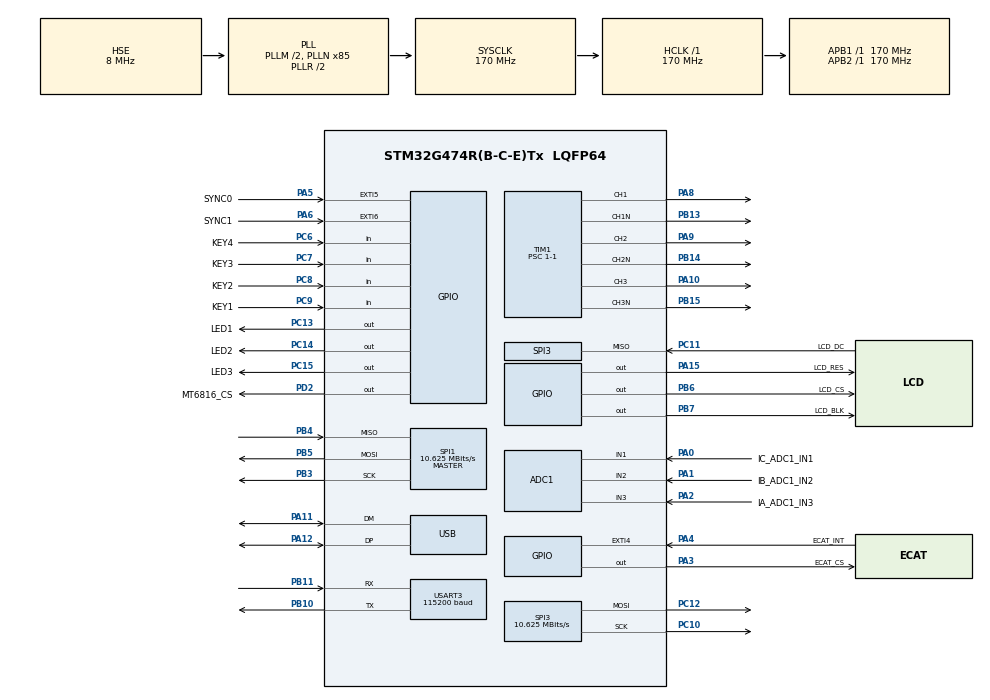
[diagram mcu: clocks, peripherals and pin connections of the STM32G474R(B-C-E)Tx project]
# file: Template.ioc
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ADC1.ClockPrescaler=ADC_CLOCK_ASYNC_DIV4
ADC1.EnableInjectedConversion=ENABLE
ADC1.EnableRegularConversion=DISABLE
ADC1.ExternalTrigInjecConv=ADC_EXTERNALTRIGINJEC_T1_CC4
ADC1.InjNumberOfConversion=3
ADC1.InjectedChannel-3\#ChannelInjectedConversion=ADC_CHANNEL_3
ADC1.InjectedChannel-5\#ChannelInjectedConversion=ADC_CHANNEL_2
ADC1.InjectedChannel-6\#ChannelInjectedConversion=ADC_CHANNEL_1
ADC1.InjectedOffsetNumber-3\#ChannelInjectedConversion=ADC_OFFSET_NONE
ADC1.InjectedOffsetNumber-5\#ChannelInjectedConversion=ADC_OFFSET_NONE
ADC1.InjectedOffsetNumber-6\#ChannelInjectedConversion=ADC_OFFSET_NONE
ADC1.InjectedRank-3\#ChannelInjectedConversion=1
ADC1.InjectedRank-5\#ChannelInjectedConversion=2
ADC1.InjectedRank-6\#ChannelInjectedConversion=3
ADC1.InjectedSamplingTime-3\#ChannelInjectedConversion=ADC_SAMPLETIME_2CYCLES_5
ADC1.InjectedSamplingTime-5\#ChannelInjectedConversion=ADC_SAMPLETIME_2CYCLES_5
ADC1.InjectedSamplingTime-6\#ChannelInjectedConversion=ADC_SAMPLETIME_2CYCLES_5
ADC1.injectedQueueMode=DISABLE
ADC1.master=1
Dma.Request0=USART3_TX
Dma.USART3_TX.0.Direction=DMA_MEMORY_TO_PERIPH
Dma.USART3_TX.0.EventEnable=DISABLE
Dma.USART3_TX.0.Instance=DMA1_Channel1
Dma.USART3_TX.0.MemDataAlignment=DMA_MDATAALIGN_BYTE
Dma.USART3_TX.0.MemInc=DMA_MINC_ENABLE
Dma.USART3_TX.0.Mode=DMA_NORMAL
Dma.USART3_TX.0.PeriphDataAlignment=DMA_PDATAALIGN_BYTE
Dma.USART3_TX.0.PeriphInc=DMA_PINC_DISABLE
Dma.USART3_TX.0.Polarity=HAL_DMAMUX_REQ_GEN_RISING
Dma.USART3_TX.0.Priority=DMA_PRIORITY_LOW
Dma.USART3_TX.0.RequestNumber=1
Dma.USART3_TX.0.SignalID=NONE
Dma.USART3_TX.0.SyncEnable=DISABLE
Dma.USART3_TX.0.SyncPolarity=HAL_DMAMUX_SYNC_NO_EVENT
Dma.USART3_TX.0.SyncRequestNumber=1
Dma.USART3_TX.0.SyncSignalID=NONE
FREERTOS.Tasks01=defaultTask,24,128,StartDefaultTask,Default,NULL,Dynamic,NULL,NULL
FREERTOS.configGENERATE_RUN_TIME_STATS=1
FREERTOS.configTOTAL_HEAP_SIZE=30720
FREERTOS.configUSE_STATS_FORMATTING_FUNCTIONS=1
Mcu.Family=STM32G4
Mcu.Name=STM32G474R(B-C-E)Tx
Mcu.Package=LQFP64
Mcu.UserConstants=PWM_PERIOD_CYCLES,(uint16_t)((TIMER1_CLK_MHz * (uint32_t) 1000000u / ((uint32_t) (PWM_FREQUENCY))) & 0xFFFE);PWM_FREQUENCY,20000;TIMER1_CLK_MHz,170;HALF_PWM_PERIOD_CYCLES,(uint16_t)(PWM_PERIOD_CYCLES / 2U);TIM7_PERIOD_CYCLES,(uint16_t)((TIMER7_CLK_MHz * (uint32_t) 1000000u / ((uint32_t) (TIM7_FREQUENCY))) & 0xFFFE);TIM7_FREQUENCY,20000;TIMER7_CLK_MHz,170
NVIC.ADC1_2_IRQn=true\:5\:0\:true\:false\:true\:true\:true\:true\:true
NVIC.DMA1_Channel1_IRQn=true\:6\:0\:true\:false\:true\:true\:false\:true\:true
NVIC.EXTI4_IRQn=true\:5\:0\:false\:false\:true\:true\:true\:true\:true
NVIC.EXTI9_5_IRQn=true\:5\:0\:false\:false\:true\:true\:true\:true\:true
NVIC.PriorityGroup=NVIC_PRIORITYGROUP_4
NVIC.TIM1_TRG_COM_TIM17_IRQn=true\:6\:0\:true\:false\:true\:true\:true\:true\:true
NVIC.TIM2_IRQn=true\:5\:0\:false\:false\:true\:true\:true\:true\:true
NVIC.TIM6_DAC_IRQn=true\:15\:0\:false\:false\:true\:false\:false\:true\:true
NVIC.TIM7_DAC_IRQn=true\:5\:0\:true\:false\:true\:true\:true\:true\:true
NVIC.TimeBase=TIM6_DAC_IRQn
NVIC.TimeBaseIP=TIM6
NVIC.USART3_IRQn=true\:6\:0\:true\:false\:true\:true\:true\:true\:true
NVIC.USB_LP_IRQn=true\:6\:0\:true\:false\:true\:true\:false\:true\:true
PA0.GPIO_Label=IC_ADC1_IN1
PA0.Mode=IN1-Single-Ended
PA0.Signal=ADC1_IN1
PA1.GPIO_Label=IB_ADC1_IN2
PA1.Mode=IN2-Single-Ended
PA1.Signal=ADC1_IN2
PA10.GPIO_PuPd=GPIO_PULLDOWN
PA10.GPIO_Speed=GPIO_SPEED_FREQ_HIGH
PA10.Signal=S_TIM1_CH3
PA11.Mode=Device
PA11.Signal=USB_DM
PA12.Mode=Device
PA12.Signal=USB_DP
PA13.Mode=Serial_Wire
PA13.Signal=SYS_JTMS-SWDIO
PA14.Mode=Serial_Wire
PA14.Signal=SYS_JTCK-SWCLK
PA15.GPIO_Label=LCD_RES
PA15.Signal=GPIO_Output
PA2.GPIO_Label=IA_ADC1_IN3
PA2.Mode=IN3-Single-Ended
PA2.Signal=ADC1_IN3
PA3.GPIO_Label=ECAT_CS
PA3.PinState=GPIO_PIN_SET
PA3.Signal=GPIO_Output
PA4.GPIO_Label=ECAT_INT
PA4.GPIO_ModeDefaultEXTI=GPIO_MODE_IT_FALLING
PA4.GPIO_PuPd=GPIO_PULLUP
PA4.Signal=GPXTI4
PA5.GPIO_Label=SYNC0
PA5.GPIO_ModeDefaultEXTI=GPIO_MODE_IT_FALLING
PA5.GPIO_PuPd=GPIO_PULLUP
PA5.Signal=GPXTI5
PA6.GPIO_Label=SYNC1
PA6.GPIO_ModeDefaultEXTI=GPIO_MODE_IT_FALLING
PA6.GPIO_PuPd=GPIO_PULLUP
PA6.Signal=GPXTI6
PA8.GPIO_PuPd=GPIO_PULLDOWN
PA8.GPIO_Speed=GPIO_SPEED_FREQ_HIGH
PA8.Signal=S_TIM1_CH1
PA9.GPIO_PuPd=GPIO_PULLDOWN
PA9.GPIO_Speed=GPIO_SPEED_FREQ_HIGH
PA9.Signal=S_TIM1_CH2
PB10.Mode=Asynchronous
PB10.Signal=USART3_TX
PB11.Mode=Asynchronous
PB11.Signal=USART3_RX
PB13.GPIO_PuPd=GPIO_PULLDOWN
PB13.GPIO_Speed=GPIO_SPEED_FREQ_HIGH
PB13.Mode=PWM Generation1 CH1 CH1N
PB13.Signal=TIM1_CH1N
PB14.GPIO_PuPd=GPIO_PULLDOWN
PB14.GPIO_Speed=GPIO_SPEED_FREQ_HIGH
PB14.Mode=PWM Generation2 CH2 CH2N
PB14.Signal=TIM1_CH2N
PB15.GPIO_PuPd=GPIO_PULLDOWN
PB15.GPIO_Speed=GPIO_SPEED_FREQ_HIGH
PB15.Mode=PWM Generation3 CH3 CH3N
PB15.Signal=TIM1_CH3N
PB3.Mode=Full_Duplex_Master
PB3.Signal=SPI1_SCK
PB4.Mode=Full_Duplex_Master
PB4.Signal=SPI1_MISO
PB5.Mode=Full_Duplex_Master
PB5.Signal=SPI1_MOSI
PB6.GPIO_Label=LCD_CS
PB6.Signal=GPIO_Output
PB7.GPIO_Label=LCD_BLK
PB7.Signal=GPIO_Output
PC10.GPIO_Speed=GPIO_SPEED_FREQ_VERY_HIGH
PC10.Mode=Full_Duplex_Master
PC10.Signal=SPI3_SCK
PC11.GPIO_Label=LCD_DC
PC11.Mode=Full_Duplex_Master
PC11.Signal=SPI3_MISO
PC12.GPIO_Speed=GPIO_SPEED_FREQ_VERY_HIGH
PC12.Mode=Full_Duplex_Master
PC12.Signal=SPI3_MOSI
PC13.GPIO_Label=LED1
PC13.Signal=GPIO_Output
PC14-OSC32_IN.GPIO_Label=LED2
PC14-OSC32_IN.Signal=GPIO_Output
PC15-OSC32_OUT.GPIO_Label=LED3
PC15-OSC32_OUT.Signal=GPIO_Output
PC6.GPIO_Label=KEY4
PC6.GPIO_PuPd=GPIO_PULLUP
PC6.Signal=GPIO_Input
PC7.GPIO_Label=KEY3
PC7.GPIO_PuPd=GPIO_PULLUP
PC7.Signal=GPIO_Input
PC8.GPIO_Label=KEY2
PC8.GPIO_PuPd=GPIO_PULLUP
PC8.Signal=GPIO_Input
PC9.GPIO_Label=KEY1
PC9.GPIO_PuPd=GPIO_PULLUP
PC9.Signal=GPIO_Input
PD2.GPIO_Label=MT6816_CS
PD2.PinState=GPIO_PIN_SET
PD2.Signal=GPIO_Output
PF0-OSC_IN.Mode=HSE-External-Oscillator
PF0-OSC_IN.Signal=RCC_OSC_IN
PF1-OSC_OUT.Mode=HSE-External-Oscillator
PF1-OSC_OUT.Signal=RCC_OSC_OUT
ProjectManager.HeapSize=0x200
ProjectManager.StackSize=0x400
ProjectManager.TargetToolchain=MDK-ARM V5.32
RCC.ADC12Freq_Value=170000000
RCC.ADC345Freq_Value=170000000
RCC.AHBFreq_Value=170000000
RCC.APB1Freq_Value=170000000
RCC.APB1TimFreq_Value=170000000
RCC.APB2Freq_Value=170000000
RCC.APB2TimFreq_Value=170000000
RCC.CK48CLockSelection=RCC_USBCLKSOURCE_HSI48
RCC.CortexFreq_Value=170000000
RCC.EXTERNAL_CLOCK_VALUE=12288000
RCC.HCLKFreq_Value=170000000
RCC.HSE_VALUE=8000000
RCC.HSI48_VALUE=48000000
RCC.HSI_VALUE=16000000
RCC.LSE_VALUE=32768
RCC.PLLM=RCC_PLLM_DIV2
RCC.PLLN=85
RCC.PLLSourceVirtual=RCC_PLLSOURCE_HSE
RCC.SYSCLKFreq_VALUE=170000000
RCC.SYSCLKSource=RCC_SYSCLKSOURCE_PLLCLK
RCC.USBFreq_Value=48000000
RCC.VCOOutputFreq_Value=340000000
SH.S_TIM1_CH1.0=TIM1_CH1,PWM Generation1 CH1 CH1N
SH.S_TIM1_CH2.0=TIM1_CH2,PWM Generation2 CH2 CH2N
SH.S_TIM1_CH3.0=TIM1_CH3,PWM Generation3 CH3 CH3N
SPI1.BaudRatePrescaler=SPI_BAUDRATEPRESCALER_16
SPI1.CLKPhase=SPI_PHASE_2EDGE
SPI1.CLKPolarity=SPI_POLARITY_HIGH
SPI1.CalculateBaudRate=10.625 MBits/s
SPI1.DataSize=SPI_DATASIZE_16BIT
SPI1.Direction=SPI_DIRECTION_2LINES
SPI1.Mode=SPI_MODE_MASTER
SPI1.VirtualType=VM_MASTER
SPI3.BaudRatePrescaler=SPI_BAUDRATEPRESCALER_16
SPI3.CLKPhase=SPI_PHASE_2EDGE
SPI3.CLKPolarity=SPI_POLARITY_HIGH
SPI3.CalculateBaudRate=10.625 MBits/s
SPI3.DataSize=SPI_DATASIZE_8BIT
SPI3.Direction=SPI_DIRECTION_2LINES
SPI3.Mode=SPI_MODE_MASTER
SPI3.VirtualType=VM_MASTER
STMicroelectronics.X-CUBE-ALGOBUILD.1.4.0.LibraryCcDSPOoLibraryJjDSPOoLibrary=true
TIM1.AutoReloadPreload=TIM_AUTORELOAD_PRELOAD_DISABLE
TIM1.Channel-PWM\ Generation1\ CH1\ CH1N=TIM_CHANNEL_1
TIM1.Channel-PWM\ Generation2\ CH2\ CH2N=TIM_CHANNEL_2
TIM1.Channel-PWM\ Generation3\ CH3\ CH3N=TIM_CHANNEL_3
TIM1.Channel-PWM\ Generation4\ No\ Output=TIM_CHANNEL_4
TIM1.ClockDivision=TIM_CLOCKDIVISION_DIV2
TIM1.CounterMode=TIM_COUNTERMODE_CENTERALIGNED1
TIM1.DeadTime=0
TIM1.OCMode_PWM-PWM\ Generation1\ CH1\ CH1N=TIM_OCMODE_PWM1
TIM1.OCMode_PWM-PWM\ Generation2\ CH2\ CH2N=TIM_OCMODE_PWM1
TIM1.OCMode_PWM-PWM\ Generation3\ CH3\ CH3N=TIM_OCMODE_PWM1
TIM1.OCMode_PWM-PWM\ Generation4\ No\ Output=TIM_OCMODE_PWM2
TIM1.PeriodNoDither=HALF_PWM_PERIOD_CYCLES
TIM1.Prescaler=1-1
TIM1.PulseNoDither_4=HALF_PWM_PERIOD_CYCLES-2
TIM1.RepetitionCounter=1
TIM1.TIM_MasterOutputTrigger=TIM_TRGO_OC4REF
TIM2.PeriodNoDither=1000-1
TIM2.Prescaler=72-1
TIM7.PeriodNoDither=TIM7_PERIOD_CYCLES-1
USART3.BaudRate=115200
USART3.VirtualMode-Asynchronous=VM_ASYNC
USB_DEVICE.CLASS_NAME_FS=CDC
USB_DEVICE.VirtualMode=Cdc
USB_DEVICE.VirtualModeFS=Cdc_FS
VP_FREERTOS_VS_CMSIS_V2.Mode=CMSIS_V2
VP_STMicroelectronics.X-CUBE-ALGOBUILD_VS_DSPOoLibraryJjLibrary_1.4.0_1.4.0.Mode=DSPOoLibraryJjLibrary
VP_SYS_VS_DBSignals.Mode=DisableDeadBatterySignals
VP_SYS_VS_tim6.Mode=TIM6
VP_TIM1_VS_ClockSourceINT.Mode=Internal
VP_TIM1_VS_no_output4.Mode=PWM Generation4 No Output
VP_TIM2_VS_ClockSourceINT.Mode=Internal
VP_TIM7_VS_ClockSourceINT.Mode=Enable_Timer
VP_USB_DEVICE_VS_USB_DEVICE_CDC_FS.Mode=CDC_FS
board=custom

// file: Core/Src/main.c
/* USER CODE BEGIN Header */
/**
  ******************************************************************************
  * @file           : main.c
  * @brief          : Main program body
  ******************************************************************************
  * @attention
  *
  * Copyright (c) 2025 STMicroelectronics.
  * All rights reserved.
  *
  * This software is licensed under terms that can be found in the LICENSE file
  * in the root directory of this software component.
  * If no LICENSE file comes with this software, it is provided AS-IS.
  *
  ******************************************************************************
  */
/* USER CODE END Header */
#include "main.h"
#include "cmsis_os.h"
#include "adc.h"
#include "dma.h"
#include "spi.h"
#include "tim.h"
#include "usart.h"
#include "usb_device.h"
#include "gpio.h"

/* USER CODE BEGIN PV */
volatile uint32_t ulHighFrequencyTimerTicks = 0UL;
/* USER CODE END PV */

void SystemClock_Config(void);
void MX_FREERTOS_Init(void);

int main(void)
{

  /* MCU Configuration--------------------------------------------------------*/

  /* Reset of all peripherals, Initializes the Flash interface and the Systick. */
  HAL_Init();

  /* Configure the system clock */
  SystemClock_Config();

  /* Initialize all configured peripherals */
  MX_GPIO_Init();
  MX_DMA_Init();
  MX_USART3_UART_Init();
  MX_TIM1_Init();
  MX_ADC1_Init();
  MX_SPI1_Init();
  MX_TIM7_Init();
  MX_SPI3_Init();
  MX_TIM2_Init();

  /* Init scheduler */
  osKernelInitialize();

  /* Call init function for freertos objects (in cmsis_os2.c) */
  MX_FREERTOS_Init();

  /* Start scheduler */
  osKernelStart();

  /* We should never get here as control is now taken by the scheduler */

  /* Infinite loop */
  while (1)
  {

  }
}

void SystemClock_Config(void)
{
  RCC_OscInitTypeDef RCC_OscInitStruct = {0};
  RCC_ClkInitTypeDef RCC_ClkInitStruct = {0};

  /** Configure the main internal regulator output voltage
  */
  HAL_PWREx_ControlVoltageScaling(PWR_REGULATOR_VOLTAGE_SCALE1_BOOST);

  /** Initializes the RCC Oscillators according to the specified parameters
  * in the RCC_OscInitTypeDef structure.
  */
  RCC_OscInitStruct.OscillatorType = RCC_OSCILLATORTYPE_HSI48|RCC_OSCILLATORTYPE_HSE;
  RCC_OscInitStruct.HSEState = RCC_HSE_ON;
  RCC_OscInitStruct.HSI48State = RCC_HSI48_ON;
  RCC_OscInitStruct.PLL.PLLState = RCC_PLL_ON;
  RCC_OscInitStruct.PLL.PLLSource = RCC_PLLSOURCE_HSE;
  RCC_OscInitStruct.PLL.PLLM = RCC_PLLM_DIV2;
  RCC_OscInitStruct.PLL.PLLN = 85;
  RCC_OscInitStruct.PLL.PLLP = RCC_PLLP_DIV2;
  RCC_OscInitStruct.PLL.PLLQ = RCC_PLLQ_DIV2;
  RCC_OscInitStruct.PLL.PLLR = RCC_PLLR_DIV2;
  if (HAL_RCC_OscConfig(&RCC_OscInitStruct) != HAL_OK)
  {
    Error_Handler();
  }

  /** Initializes the CPU, AHB and APB buses clocks
  */
  RCC_ClkInitStruct.ClockType = RCC_CLOCKTYPE_HCLK|RCC_CLOCKTYPE_SYSCLK
                              |RCC_CLOCKTYPE_PCLK1|RCC_CLOCKTYPE_PCLK2;
  RCC_ClkInitStruct.SYSCLKSource = RCC_SYSCLKSOURCE_PLLCLK;
  RCC_ClkInitStruct.AHBCLKDivider = RCC_SYSCLK_DIV1;
  RCC_ClkInitStruct.APB1CLKDivider = RCC_HCLK_DIV1;
  RCC_ClkInitStruct.APB2CLKDivider = RCC_HCLK_DIV1;

  if (HAL_RCC_ClockConfig(&RCC_ClkInitStruct, FLASH_LATENCY_4) != HAL_OK)
  {
    Error_Handler();
  }
}

/* USER CODE BEGIN 4 */
extern void ECAT_TIM_CallBack(void);
/* USER CODE END 4 */

void HAL_TIM_PeriodElapsedCallback(TIM_HandleTypeDef *htim)
{
  if (htim->Instance == TIM6) {
    HAL_IncTick();
  }
  /* USER CODE BEGIN Callback 1 */
  if (htim->Instance == TIM7) {
    ulHighFrequencyTimerTicks++;
  }
	if (htim->Instance == TIM2) {
		ECAT_TIM_CallBack();
  }
  /* USER CODE END Callback 1 */
}

void Error_Handler(void)
{
  __disable_irq();
  while (1)
  {
  }
}

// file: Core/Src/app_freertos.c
/* USER CODE BEGIN Header */
/**
  ******************************************************************************
  * File Name          : app_freertos.c
  * Description        : Code for freertos applications
  ******************************************************************************
  * @attention
  *
  * Copyright (c) 2025 STMicroelectronics.
  * All rights reserved.
  *
  * This software is licensed under terms that can be found in the LICENSE file
  * in the root directory of this software component.
  * If no LICENSE file comes with this software, it is provided AS-IS.
  *
  ******************************************************************************
  */
/* USER CODE END Header */

#include "FreeRTOS.h"
#include "task.h"
#include "main.h"
#include "cmsis_os.h"

/* USER CODE BEGIN Includes */
#include "bsp.h"

/* USER CODE END Includes */

/* USER CODE BEGIN Variables */
static TaskHandle_t xHandleTaskLCD_ECAT = NULL;
static TaskHandle_t xHandleTaskUserIF = NULL;
static TaskHandle_t xHandleTaskUartShell = NULL;
static TaskHandle_t xHandleTaskStart = NULL;

SemaphoreHandle_t xTxSemaphore;  // 用于发送完成的信号量
SemaphoreHandle_t xUartMutex;    // 用于保护串口资源的互斥锁
SemaphoreHandle_t xFocMutex;    // 用于保护FOC参数资源的互斥锁

/* USER CODE END Variables */
/* Definitions for defaultTask */
osThreadId_t defaultTaskHandle;
const osThreadAttr_t defaultTask_attributes = {
  .name = "defaultTask",
  .priority = (osPriority_t) osPriorityNormal,
  .stack_size = 128 * 4
};

/* USER CODE BEGIN FunctionPrototypes */
static void AppTaskLCD_ECAT(void *argument);
static void AppTaskUserIF(void *argument);
static void AppTaskUartShell(void *argument);
static void AppTaskStart(void *argument);
static void AppTaskCreate(void);

extern void ecat_Init(void);
extern void ecat_main(void);
/* USER CODE END FunctionPrototypes */

void StartDefaultTask(void *argument);

void MX_FREERTOS_Init(void); /* (MISRA C 2004 rule 8.1) */

/* Hook prototypes */
void configureTimerForRunTimeStats(void);
unsigned long getRunTimeCounterValue(void);

/* USER CODE BEGIN 1 */
/* Functions needed when configGENERATE_RUN_TIME_STATS is on */
__weak void configureTimerForRunTimeStats(void)
{

}

__weak unsigned long getRunTimeCounterValue(void)
{
return 0;
}
/* USER CODE END 1 */

void MX_FREERTOS_Init(void) {

  /* USER CODE BEGIN RTOS_MUTEX */
  /* add mutexes, ... */
	xUartMutex = xSemaphoreCreateMutex();
	xFocMutex = xSemaphoreCreateMutex();
  /* USER CODE END RTOS_MUTEX */

  /* USER CODE BEGIN RTOS_SEMAPHORES */
  /* add semaphores, ... */
	xTxSemaphore = xSemaphoreCreateBinary();
  /* USER CODE END RTOS_SEMAPHORES */

  /* Create the thread(s) */
  /* creation of defaultTask */
  defaultTaskHandle = osThreadNew(StartDefaultTask, NULL, &defaultTask_attributes);

  /* USER CODE BEGIN RTOS_THREADS */
  /* add threads, ... */
	xTaskCreate(  AppTaskStart,         /* 任务函数  */
								"AppTaskStart",       /* 任务名    */
								512,                 	/* 任务栈大小，单位word，也就是4字节 */
								NULL,                 /* 任务参数  */
								osPriorityNormal6,    /* 任务优先级*/
								&xHandleTaskStart );  /* 任务句柄  */
  /* USER CODE END RTOS_THREADS */

}

void StartDefaultTask(void *argument)
{
  /* init code for USB_Device */
  MX_USB_Device_Init();
  for(;;)
  {
    osDelay(1);
  }
}

/* USER CODE BEGIN Application */

/*
*********************************************************************************************************
*	函 数 名: AppTaskLCD_ECAT
*	功能说明: SPI3任务(LCD屏幕或ECAT)
*	形    参: 无
*	返 回 值: 无
* 优 先 级: osPriorityNormal3
*********************************************************************************************************
*/
static void AppTaskLCD_ECAT(void *argument)
{
	int32_t	spi_ctrl_last = SPI3_Ctrl; /* 设置最新状态为CONTROL_LCD */
	/* 初始化任务 */

	while(1)
	{
		/* 需要周期性处理的程序 */
		/* 如果状态发生变换 */
		if (SPI3_Ctrl != spi_ctrl_last)
		{
			spi_ctrl_last = SPI3_Ctrl;
			switch (spi_ctrl_last)
			{
			  case CONTROL_LCD:
					/* LCD初始化 */
					bsp_spi3_Lcd_Init();
					LCD_Init();
					break;
				case CONTROL_ECAT:
					/* ECAT初始化 */
					LCD_Fill(0, 0, 240, 320, BLACK);
					LCD_Disable(); /* LCD显示[EtherCAT] */
					bsp_spi3_ECAT_Init();
					ecat_Init();
					break;
				default:
					break;
			}
		}

		/* 根据SPI的控制外设执行对应功能 */
		switch (spi_ctrl_last)
		{
			case CONTROL_LCD:
				LCD_Demo();
				break;
			case CONTROL_ECAT:
				ecat_main();
				break;
			default:
				break;
		}
		vTaskDelay(1);
	}
}

/*
*********************************************************************************************************
*	函 数 名: AppTaskUserIF
*	功能说明: 按键消息处理
*	形    参: 无
*	返 回 值: 无
* 优 先 级: osPriorityNormal4
*********************************************************************************************************
*/
static void AppTaskUserIF(void *argument)
{
	uint8_t ucKeyCode;
	/* 初始化任务 */

	while(1)
	{
		ucKeyCode = bsp_GetKey();
		switch (ucKeyCode)
		{
			case KEY_DOWN_K1:		/* K1键按下 */
				shellPrint(&shell, "KEY_DOWN_K1\r\n");
				// 获取互斥锁，保护 FOC参数 资源
				xSemaphoreTake(xFocMutex, portMAX_DELAY);
				switch (UsrConfig.control_mode)
				{
					case CONTROL_MODE_TORQUE_RAMP:
						Foc.target_i_q -= 0.1f;
						break;
					case CONTROL_MODE_VELOCITY_RAMP:
						Foc.target_velocity -= 5.0f;
						break;
					case CONTROL_MODE_POSITION_RAMP:
						Foc.target_position -= 5.0f;
						break;
					case CONTROL_MODE_POSITION_PROFILE:
						Foc.target_position -= 5.0f;
						break;
					default:
						break;
				}
				// 释放互斥锁
				xSemaphoreGive(xFocMutex);
				break;

			case KEY_DOWN_K2:		/* K2键按下 */
				shellPrint(&shell, "KEY_DOWN_K3\r\n");
				// 获取互斥锁，保护 FOC参数 资源
				xSemaphoreTake(xFocMutex, portMAX_DELAY);
				switch (UsrConfig.control_mode)
				{
					case CONTROL_MODE_TORQUE_RAMP:
						Foc.target_i_q += 0.1f;
						break;
					case CONTROL_MODE_VELOCITY_RAMP:
						Foc.target_velocity += 5.0f;
						break;
					case CONTROL_MODE_POSITION_RAMP:
						Foc.target_position += 5.0f;
						break;
					case CONTROL_MODE_POSITION_PROFILE:
						Foc.target_position += 5.0f;
						break;
					default:
						break;
				}
				// 释放互斥锁
				xSemaphoreGive(xFocMutex);
				break;

			case KEY_DOWN_K3:		/* K3键按下 */
				/* 急停 */
				shellPrint(&shell, "KEY_DOWN_K3\r\n");
				MCT_set_state(M_ERR); /* 设置为错误状态 */
				break;

			case KEY_DOWN_K4: 	/* K4键按下 */
				shellPrint(&shell, "KEY_DOWN_K4\r\n");
				// 获取互斥锁，保护 FOC参数 资源
				xSemaphoreTake(xFocMutex, portMAX_DELAY);
				if (UsrConfig.control_mode < 4)
				{
					UsrConfig.control_mode++;
				}
				else
				{
					UsrConfig.control_mode = 1;
				}
				// 释放互斥锁
				xSemaphoreGive(xFocMutex);
				break;

			case SYS_DOWN_K1K2:
				shellPrint(&shell, "SYS_DOWN_K1K2\r\n");
				SPI3_Ctrl = !SPI3_Ctrl; /* 切换SPI3控制对象 */
				break;
			default:
				break;
		}
		/* 需要周期性处理的程序 */
		vTaskDelay(20);
	}
}
/*
*********************************************************************************************************
*	函 数 名: AppTaskUartShell
*	功能说明: 串口shell任务，用于接收串口数据，并执行相关命令。
*	形    参: 无
*	返 回 值: 无
* 优 先 级: osPriorityNormal5
*********************************************************************************************************
*/
static void AppTaskUartShell(void *argument)
{
	/* 初始化任务 */

	while(1)
	{
		/* 需要周期性处理的程序 */
		shellTask(&shell);
		vTaskDelay(1);
	}
}
/*
*********************************************************************************************************
*	函 数 名: AppTaskStart
*	功能说明: 启动任务，这里用作BSP驱动包处理。
*	形    参: 无
*	返 回 值: 无
* 优 先 级: osPriorityNormal6
*********************************************************************************************************
*/
static void AppTaskStart(void *argument)
{
	uint8_t  ucCount = 0;
	/* 初始化外设 */

	/* 初始化组件 */
	bsp_InitKey();		 				/* 按键初始化 */
	bsp_spi3_manager_init();  			/* SPI3控制管理初始化 */
	bsp_spi3_Lcd_Init();
	LCD_Init();							/* LCD屏幕初始化 */
	User_Shell_Init(); 					/* letter-shell初始化 */
	MyFoc_init();						/* FOC初始化 */

	/* 创建任务 */
	AppTaskCreate();

	while(1)
	{
		/* 需要周期性处理的程序 */

		/* 1ms 处理 */
		bsp_RunPer1ms();
		/* 10ms 处理 */
		if(++ucCount == 10)
		{
			ucCount = 0;
			bsp_RunPer10ms();
		}
		vTaskDelay(1);
	}
}

/*
*********************************************************************************************************
*	函 数 名: AppTaskCreate
*	功能说明: 创建应用任务
*	形    参：无
*	返 回 值: 无
*********************************************************************************************************
*/
static void AppTaskCreate(void)
{
	BaseType_t status;

	status = xTaskCreate(  AppTaskLCD_ECAT,  			 		 /* 任务函数  */
												"AppTaskLCD_ECAT", 			 		 /* 任务名    */
												512,                 		 		 /* 任务栈大小，单位word，也就是4字节 */
												NULL,                 	 		 /* 任务参数  */
												osPriorityNormal3,    	 		 /* 任务优先级*/
												&xHandleTaskLCD_ECAT );   	 /* 任务句柄  */
	if ( pdPASS == status)
		shellPrint(&shell, "[AppTaskCreate]:AppTaskLCD_ECAT task create success\r\n");
	else
		shellPrint(&shell, "[AppTaskCreate]:AppTaskLCD_ECAT task create failed\r\n");

	status = xTaskCreate(  AppTaskUserIF,  			 	 /* 任务函数  */
												"AppTaskUserIF", 			 	 /* 任务名    */
												256,                 		 /* 任务栈大小，单位word，也就是4字节 */
												NULL,                 	 /* 任务参数  */
												osPriorityNormal4,    	 /* 任务优先级*/
												&xHandleTaskUserIF );    /* 任务句柄  */
	if ( pdPASS == status)
		shellPrint(&shell, "[AppTaskCreate]:AppTaskUserIF task create success\r\n");
	else
		shellPrint(&shell, "[AppTaskCreate]:AppTaskUserIF task create failed\r\n");

	status = xTaskCreate(  AppTaskUartShell,  			 /* 任务函数  */
												"AppTaskUartShell", 			 /* 任务名    */
												512,                 			 /* 任务栈大小，单位word，也就是4字节 */
												NULL,                 		 /* 任务参数  */
												osPriorityNormal5,    		 /* 任务优先级*/
												&xHandleTaskUartShell );   /* 任务句柄  */
	if ( pdPASS == status)
		shellPrint(&shell, "[AppTaskCreate]:AppTaskUartShell task create success\r\n");
	else
		shellPrint(&shell, "[AppTaskCreate]:AppTaskUartShell task create failed\r\n");

	shellPrint(&shell, "*************************************************************\r\n");
}

/*
*********************************************************************************************************
*	函 数 名: HAL_ADCEx_InjectedConvCpltCallback
*	功能说明: ADC注入转换完成回调函数
*	形    参：hadc：ADC句柄
*	返 回 值: 无
*********************************************************************************************************
*/
void HAL_ADCEx_InjectedConvCpltCallback(ADC_HandleTypeDef *hadc)
{
	/* Calc ADC offset */
	static int adc_sum_a = 0;
	static int adc_sum_b = 0;
	static int adc_sum_c = 0;
	static uint8_t isCalcAdcOffsetOvered = FALSE;
	const int measCnt = 64;
	static int measCntCopy = measCnt;
	if (hadc->Instance == ADC1 && !isCalcAdcOffsetOvered)
	{
		adc_sum_a += hadc1.Instance->JDR1;
		adc_sum_b += hadc1.Instance->JDR2;
		adc_sum_c += hadc1.Instance->JDR3;

		if (--measCntCopy <= 0)
		{
			phase_a_adc_offset = adc_sum_a / measCnt;
			phase_b_adc_offset = adc_sum_b / measCnt;
			phase_c_adc_offset = adc_sum_c / measCnt;

			isCalcAdcOffsetOvered = TRUE;
		}
	}
	if (hadc->Instance == ADC1 && isCalcAdcOffsetOvered)
	{

    MCT_high_frequency_task();

		vofaFrame.fdata[0] = Foc.i_a;
		vofaFrame.fdata[1] = Foc.i_b;
		vofaFrame.fdata[2] = Foc.i_c;
		vofaFrame.fdata[3] = Foc.i_d_filt;
		vofaFrame.fdata[4] = Foc.i_q_filt;
		vofaFrame.fdata[5] = Foc.target_position;
		vofaFrame.fdata[6] = Foc.position;
		vofaFrame.fdata[7] = Foc.target_velocity;
		vofaFrame.fdata[8] = Foc.velocity_filt;
		vofa_print();
	}
}

/*
*********************************************************************************************************
*	函 数 名: PrintfLogo
*	功能说明: 打印例程名称和例程发布日期, 接上串口线后，打开PC机的超级终端软件可以观察结果
*	形    参: 无
*	返 回 值: 无
*********************************************************************************************************
*/
void PrintfLogo(void)
{

	/* 检测CPU ID */
	uint32_t CPU_Sn0, CPU_Sn1, CPU_Sn2;

	CPU_Sn0 = HAL_GetUIDw0();
	CPU_Sn1 = HAL_GetUIDw1();
	CPU_Sn2 = HAL_GetUIDw2();

	shellPrint(&shell, "*************************************************************\r\n");
	shellPrint(&shell, "    __________  ______   ______________ \r\n");
	shellPrint(&shell, "   / ____/ __ \\/ ____/  / ____/_  __/ / \r\n");
	shellPrint(&shell, "  / /_  / / / / /      / /     / / / /  \r\n");
	shellPrint(&shell, " / __/ / /_/ / /___   / /___  / / / /___\r\n");
	shellPrint(&shell, "/_/    \\____/\\____/   \\____/ /_/ /_____/\r\n");
	shellPrint(&shell, "                                        \r\n");
	shellPrint(&shell, "Build:       "__DATE__" "__TIME__"\r\n");
	shellPrint(&shell, "Version:     "SOFTWARE_VERSION"\r\n");
	shellPrint(&shell, "Copyright:   (C) 2025 astronG\r\n");
	shellPrint(&shell, "-------------------------------------------------------------\r\n");
	shellPrint(&shell, "CPU: STM32G474RET6, SYSCLK: %dMHz, RAM: 128KB, ROM: 512KB\r\n", SystemCoreClock / 1000000);
	shellPrint(&shell, "UID: %08X %08X %08X\r\n", CPU_Sn2, CPU_Sn1, CPU_Sn0);
	shellPrint(&shell, "STM32G4xx_HAL_Driver:STM32Cube_FW_G4 V1.6.1\r\n");
	shellPrint(&shell, "Current version of FOC Algorithm: %s\r\n", MYFOC_SOFTWARE_VERSION);
  shellPrint(&shell, "*************************************************************\r\n");
}

/* USER CODE END Application */
